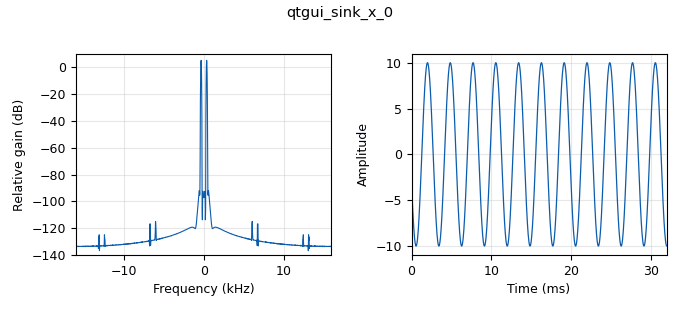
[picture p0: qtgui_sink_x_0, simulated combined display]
<?xml version='1.0' encoding='utf-8'?>
<?grc format='1' created='3.7.11'?>
<flow_graph>
<block>
<key>options</key>
<param><key>id</key><value>top_block</value></param>
<param><key>generate_options</key><value>qt_gui</value></param>
</block>
<block>
<key>variable</key>
<param><key>id</key><value>amp</value></param>
<param><key>value</key><value>10.</value></param>
</block>
<block>
<key>variable</key>
<param><key>id</key><value>fftsize</value></param>
<param><key>value</key><value>2048</value></param>
</block>
<block>
<key>variable</key>
<param><key>id</key><value>samp_rate</value></param>
<param><key>value</key><value>32000</value></param>
</block>
<block>
<key>analog_sig_source_x</key>
<param><key>id</key><value>analog_sig_source_x_0</value></param>
<param><key>amp</key><value>amp</value></param>
<param><key>freq</key><value>350</value></param>
<param><key>offset</key><value>0</value></param>
<param><key>type</key><value>float</value></param>
<param><key>samp_rate</key><value>samp_rate</value></param>
<param><key>waveform</key><value>analog.GR_COS_WAVE</value></param>
</block>
<block>
<key>analog_sig_source_x</key>
<param><key>id</key><value>analog_sig_source_x_0_0</value></param>
<param><key>amp</key><value>amp</value></param>
<param><key>freq</key><value>440</value></param>
<param><key>offset</key><value>0</value></param>
<param><key>type</key><value>float</value></param>
<param><key>samp_rate</key><value>samp_rate</value></param>
<param><key>waveform</key><value>analog.GR_COS_WAVE</value></param>
</block>
<block>
<key>audio_sink</key>
<param><key>id</key><value>audio_sink_0</value></param>
<param><key>num_inputs</key><value>2</value></param>
<param><key>samp_rate</key><value>samp_rate</value></param>
</block>
<block>
<key>qtgui_sink_x</key>
<param><key>id</key><value>qtgui_sink_x_0</value></param>
<param><key>bw</key><value>samp_rate</value></param>
<param><key>fc</key><value>0</value></param>
<param><key>freqchangevar</key><value>None</value></param>
<param><key>fftsize</key><value>1024</value></param>
<param><key>showports</key><value>True</value></param>
<param><key>type</key><value>float</value></param>
<param><key>wintype</key><value>firdes.WIN_BLACKMAN_hARRIS</value></param>
</block>
<connection><source_block_id>analog_sig_source_x_0</source_block_id><sink_block_id>audio_sink_0</sink_block_id><source_key>0</source_key><sink_key>0</sink_key></connection>
<connection><source_block_id>analog_sig_source_x_0</source_block_id><sink_block_id>qtgui_sink_x_0</sink_block_id><source_key>0</source_key><sink_key>0</sink_key></connection>
<connection><source_block_id>analog_sig_source_x_0_0</source_block_id><sink_block_id>audio_sink_0</sink_block_id><source_key>0</source_key><sink_key>1</sink_key></connection>
</flow_graph>
